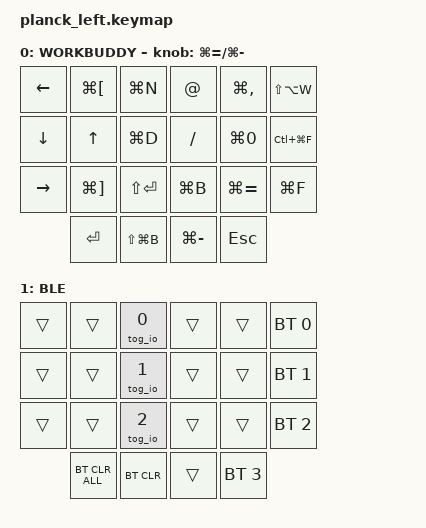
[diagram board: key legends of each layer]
#include <behaviors.dtsi>
#include <dt-bindings/zmk/bt.h>
#include <dt-bindings/zmk/keys.h>

#include <behaviors/toggle_io.dtsi> // &tog_io 翻转 LED
#include <behaviors/on_io.dtsi>     // &on_io  点亮 LED
#include <behaviors/off_io.dtsi>    // &off_io 熄灭 LED

/ {
    combos {
        compatible = "zmk,combos";

        // 左板三键同时按（上一任务 / ↑ / 下一任务）进入 BLE 管理层
        desk_l_down {
            bindings = <&mo 1>;
            key-positions = <1 7 13>;
        };
    };

    keymap {
        compatible = "zmk,keymap";

        // WorkBuddy Pad（对照 docs/workbuddy/layout/03-workbuddy-pad.json）
        // 列优先、自下而上：底行 ←↓→，顶行 主窗口/全屏/搜索/停止
        WORKBUDDY {
            bindings = <
/* ←          上一任务      新建对话    @Agent       设置面板      主窗口 */
&kp LEFT      &kp LG(LBKT)  &kp LG(N)   &kp AT       &kp LG(COMMA) &kp LS(LA(W))
/* ↓          ↑             语音输入    /Skills      字号0         展开全屏 */
&kp DOWN      &kp UP        &kp LG(D)   &kp FSLH     &kp LG(N0)    &kp LC(LG(F))
/* →          下一任务      换行输入    左侧目录     字号+         对话搜索 */
&kp RIGHT     &kp LG(RBKT)  &kp LS(RET) &kp LG(B)    &kp LG(EQUAL) &kp LG(F)
/*            发送消息      右侧产物    字号-        停止生成 */
              &kp RET       &kp LS(LG(B)) &kp LG(MINUS) &kp ESC
            >;

            // 旋钮：转 = 字号±（⌘+ / ⌘-）；按与 pos18 同键（发送）
            sensor-bindings = <&inc_dec_kp LG(EQUAL) LG(MINUS)>;

            label = "WORKBUDDY";
        };

        BLE {
            bindings = <
&trans  &trans  &tog_io 0  &trans  &trans  &bt BT_SEL 0
&trans  &trans  &tog_io 1  &trans  &trans  &bt BT_SEL 1
&trans  &trans  &tog_io 2  &trans  &trans  &bt BT_SEL 2
                &bt BT_CLR_ALL  &bt BT_CLR  &trans  &bt BT_SEL 3
            >;

            label = "BLE";
        };
    };
};
